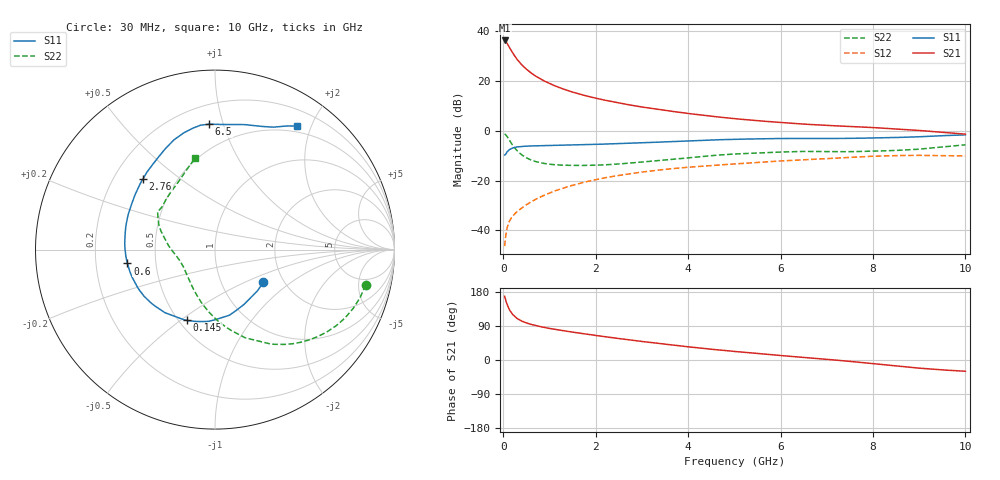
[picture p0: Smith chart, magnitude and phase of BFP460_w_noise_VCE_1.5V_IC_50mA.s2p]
! (c) 2016  Infineon Technologies AG, Munich
! Infineon Technologies  Discrete & RF Semiconductors
! BFP460
! VCE =  1.5 V,  IC =  50 mA
! Common Emitter S-Parameters:  Jan 2016
# GHz  S  MA  R  50
!  f  S11  S21  S12  S22
! GHz  MAG  ANG  MAG  ANG  MAG  ANG  MAG  ANG
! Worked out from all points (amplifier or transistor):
!   229 points, 30 MHz to 10 GHz, reference 50 ohm
!   highest |S21| = 36.3 dB at 30 MHz (marker M1)
!   |S21| within 3 dB of that: start of sweep to 141.3 MHz
!   unconditionally stable (mu >= 1): 998.1 MHz to 7.861 GHz
!   at 280 MHz: K = 0.67, MSG = 31.0 dB, |S12| = -32.8 dB
!   at 1.78 GHz: K = 1.04, MAG = 16.1 dB, |S12| = -20.6 dB
!   at 10 GHz: K = 0.98, MSG = 4.4 dB, |S12| = -10.1 dB
!   lowest NFmin = 1.78 dB at 3.5 GHz
!   S11 on the Smith chart (normalised r, x): 30 MHz: 1.58, -0.64; 145 MHz: 0.55, -0.53; 600 MHz: 0.34, -0.07; 2.76 GHz: 0.32, +0.37; 6.5 GHz: 0.33, +0.90; 10 GHz: 0.41, +1.79
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0.03  0.3253 -34.2  65.01 168.1  0.0048 83.6  0.8616 -13.2
0.05  0.3344 -53.8  62.38 159.0  0.0073 77.7  0.837 -23.0
0.07  0.3592 -70.9  59.42 151.4  0.0097 72.8  0.7982 -32.0
0.08  0.3743 -77.6  57.62 148.2  0.0108 70.1  0.775 -36.2
0.09  0.3813 -84.6  55.62 144.8  0.0117 69.0  0.7509 -40.1
0.11  0.4014 -95.2  51.78 139.0  0.0135 65.6  0.7027 -47.3
0.145  0.4238 -111.5  45.35 130.5  0.0159 62.1  0.6221 -58.0
0.2  0.4488 -128.4  37.12 120.7  0.0191 59.3  0.5193 -71.1
0.26  0.4646 -140.6  30.6 113.5  0.0219 58.9  0.4388 -81.6
0.3  0.4731 -146.8  27.17 109.6  0.0237 59.1  0.3976 -87.7
0.4  0.4826 -157.8  21.14 102.7  0.0281 60.3  0.3283 -99.5
0.6  0.4944 -171.0  14.51 94.0  0.0371 62.8  0.2587 -116.1
0.8  0.5008 -179.6  11.01 88.0  0.0465 64.0  0.2277 -127.6
1  0.5054 173.6  8.88 83.3  0.056 64.4  0.2126 -136.0
1.7  0.5233 156.1  5.285 70.0  0.0898 61.4  0.2007 -154.1
2.76  0.5627 135.4  3.267 52.7  0.1379 52.5  0.225 -173.6
3.4  0.592 124.9  2.64 43.3  0.1634 46.4  0.2535 176.8
5.1  0.6757 104.1  1.714 21.6  0.2184 32.5  0.3437 155.7
6.5  0.6994 92.6  1.359 6.7  0.2603 21.6  0.3838 146.5
6.8  0.6977 89.9  1.31 3.8  0.2694 19.5  0.3816 145.2
8.4  0.7269 71.4  1.1 -14.5  0.3155 4.7  0.3989 129.7
10  0.8257 56.4  0.854 -29.7  0.3118 -8.0  0.5213 102.3
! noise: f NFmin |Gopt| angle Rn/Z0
0.45  1.86  0.32  -170  0.13
0.9  1.89  0.29  -162  0.14
1.9  1.98  0.4  -140  0.16
3.5  1.78  0.62  -116  0.27
